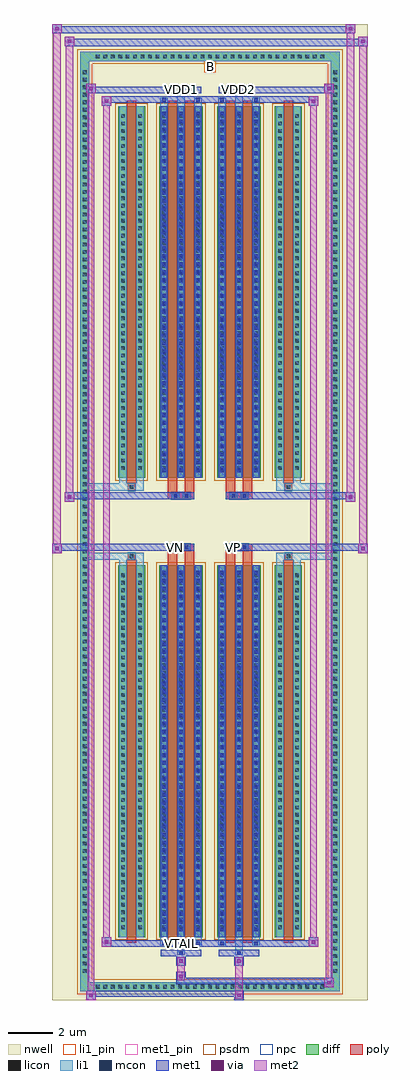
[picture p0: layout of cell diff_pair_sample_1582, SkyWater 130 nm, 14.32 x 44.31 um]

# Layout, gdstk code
import gdstk
lib = gdstk.Library(unit=1e-6, precision=5e-09)
def R(c, l, rs):  # rectangles x0, y0, x1, y1
    for r in rs: c.add(gdstk.rectangle(r[:2], r[2:], *l))
def A(c, l, x, y, w, h, nx, ny, dx, dy):  # array of equal rectangles
    R(c, l, [(x+i*dx, y+j*dy, x+i*dx+w, y+j*dy+h) for i in range(nx) for j in range(ny)])
def P(c, l, *ps):  # polygons
    for p in ps: c.add(gdstk.Polygon(p, *l))
nwell = (64, 20)
diff = (65, 20)
poly = (66, 20)
licon = (66, 44)
li1_pin = (67, 16)
li1 = (67, 20)
mcon = (67, 44)
met1_pin = (68, 16)
met1 = (68, 20)
via = (68, 44)
met2 = (69, 20)
psdm = (94, 20)
npc = (95, 20)

diff_pair_sample_1582 = lib.new_cell('diff_pair_sample_1582')
R(diff_pair_sample_1582, nwell, [(-7.16,-21.72,7.16,22.59), (-4.48,-19.91,-0.01,-0.805), (0.01,-19.91,4.48,-0.805), (-4.48,0.805,-0.01,19.91), (0.01,0.805,4.48,19.91)])
A(diff_pair_sample_1582, diff, -5.305, -21.32, 0.41, 0.41, 31, 2, 0.34, 42.23)
A(diff_pair_sample_1582, diff, -5.89, -20.605, 0.41, 0.41, 1, 121, 0, 0.34)
A(diff_pair_sample_1582, diff, 5.48, -20.605, 0.41, 0.41, 1, 121, 0, 0.34)
R(diff_pair_sample_1582, diff, [(-5.305,-21.32,5.305,-20.91), (-5.89,-20.605,-5.48,20.605), (5.48,-20.605,5.89,20.605), (-4.17,-18.865,-2.95,-1.985), (-2.31,-18.865,-0.32,-1.985), (0.32,-18.865,2.31,-1.985), (2.95,-18.865,4.17,-1.985), (-4.17,1.985,-2.95,18.865), (-2.31,1.985,-0.32,18.865), (0.32,1.985,2.31,18.865), (2.95,1.985,4.17,18.865), (-5.305,20.91,5.305,21.32)])
P(diff_pair_sample_1582, diff, [(5.89,21.32),(-5.89,21.32),(-5.89,-20.91),(-5.48,-20.91),(-5.48,20.91),(5.48,20.91),(5.48,-20.91),(-5.48,-20.91),(-5.89,-20.91),(-5.89,-21.32),(5.89,-21.32)])
R(diff_pair_sample_1582, poly, [(-3.78,-19.115,-3.34,-1.735), (-1.92,-19.115,-1.48,-1.735), (-1.15,-19.115,-0.71,-1.735), (0.71,-19.115,1.15,-1.735), (1.48,-19.115,1.92,-1.735), (3.34,-19.115,3.78,-1.735), (-3.725,-1.735,-3.395,-1.405), (-3.725,-1.735,-3.395,-1.405), (-1.92,-1.735,-1.48,-1.335), (-1.15,-1.735,-0.71,-1.335), (0.71,-1.735,1.15,-1.335), (1.48,-1.735,1.92,-1.335), (3.395,-1.735,3.725,-1.405), (3.395,-1.735,3.725,-1.405), (-1.92,-1.335,-0.71,-1.005), (-1.73,-1.335,-1.4,-1.005), (-1.23,-1.335,-0.9,-1.005), (0.71,-1.335,1.92,-1.005), (0.9,-1.335,1.23,-1.005), (1.4,-1.335,1.73,-1.005), (-1.92,1.005,-0.71,1.335), (-1.73,1.005,-1.4,1.335), (-1.23,1.005,-0.9,1.335), (0.71,1.005,1.92,1.335), (0.9,1.005,1.23,1.335), (1.4,1.005,1.73,1.335), (-1.92,1.335,-1.48,1.735), (-1.15,1.335,-0.71,1.735), (0.71,1.335,1.15,1.735), (1.48,1.335,1.92,1.735), (-3.725,1.405,-3.395,1.735), (-3.725,1.405,-3.395,1.735), (3.395,1.405,3.725,1.735), (3.395,1.405,3.725,1.735), (-3.78,1.735,-3.34,19.115), (-1.92,1.735,-1.48,19.115), (-1.15,1.735,-0.71,19.115), (0.71,1.735,1.15,19.115), (1.48,1.735,1.92,19.115), (3.34,1.735,3.78,19.115)])
A(diff_pair_sample_1582, licon, -5.185, -21.2, 0.17, 0.17, 31, 2, 0.34, 42.23)
A(diff_pair_sample_1582, licon, -5.77, -20.485, 0.17, 0.17, 1, 121, 0, 0.34)
A(diff_pair_sample_1582, licon, 5.6, -20.485, 0.17, 0.17, 1, 121, 0, 0.34)
A(diff_pair_sample_1582, licon, -4.03, -18.5, 0.17, 0.17, 1, 48, 0, 0.34)
A(diff_pair_sample_1582, licon, -3.26, -18.5, 0.17, 0.17, 1, 48, 0, 0.34)
A(diff_pair_sample_1582, licon, -2.17, -18.5, 0.17, 0.17, 3, 48, 0.77, 0.34)
A(diff_pair_sample_1582, licon, 0.46, -18.5, 0.17, 0.17, 3, 48, 0.77, 0.34)
A(diff_pair_sample_1582, licon, 3.09, -18.5, 0.17, 0.17, 1, 48, 0, 0.34)
A(diff_pair_sample_1582, licon, 3.86, -18.5, 0.17, 0.17, 1, 48, 0, 0.34)
A(diff_pair_sample_1582, licon, -4.03, 2.35, 0.17, 0.17, 1, 48, 0, 0.34)
A(diff_pair_sample_1582, licon, -3.26, 2.35, 0.17, 0.17, 1, 48, 0, 0.34)
A(diff_pair_sample_1582, licon, -2.17, 2.35, 0.17, 0.17, 3, 48, 0.77, 0.34)
A(diff_pair_sample_1582, licon, 0.46, 2.35, 0.17, 0.17, 3, 48, 0.77, 0.34)
A(diff_pair_sample_1582, licon, 3.09, 2.35, 0.17, 0.17, 1, 48, 0, 0.34)
A(diff_pair_sample_1582, licon, 3.86, 2.35, 0.17, 0.17, 1, 48, 0, 0.34)
R(diff_pair_sample_1582, licon, [(-3.645,-1.655,-3.475,-1.485), (3.475,-1.655,3.645,-1.485), (-1.65,-1.255,-1.48,-1.085), (-1.15,-1.255,-0.98,-1.085), (0.98,-1.255,1.15,-1.085), (1.48,-1.255,1.65,-1.085), (-1.65,1.085,-1.48,1.255), (-1.15,1.085,-0.98,1.255), (0.98,1.085,1.15,1.255), (1.48,1.085,1.65,1.255), (-3.645,1.485,-3.475,1.655), (3.475,1.485,3.645,1.655)])
R(diff_pair_sample_1582, li1_pin, [(-0.25,20.41,0.25,20.91)])
A(diff_pair_sample_1582, li1, -5.265, -21.28, 0.33, 0.33, 31, 2, 0.34, 42.23)
A(diff_pair_sample_1582, li1, -5.85, -20.565, 0.33, 0.33, 1, 121, 0, 0.34)
A(diff_pair_sample_1582, li1, 5.52, -20.565, 0.33, 0.33, 1, 121, 0, 0.34)
A(diff_pair_sample_1582, li1, -2.25, -18.865, 0.33, 16.88, 3, 2, 0.77, 20.85)
A(diff_pair_sample_1582, li1, 0.38, -18.865, 0.33, 16.88, 3, 2, 0.77, 20.85)
A(diff_pair_sample_1582, li1, -2.17, -18.61, 0.17, 0.17, 3, 46, 0.77, 0.36)
A(diff_pair_sample_1582, li1, -2.17, -18.61, 0.17, 16.37, 3, 2, 0.77, 20.85)
A(diff_pair_sample_1582, li1, 0.46, -18.61, 0.17, 0.17, 3, 46, 0.77, 0.36)
A(diff_pair_sample_1582, li1, 0.46, -18.61, 0.17, 16.37, 3, 2, 0.77, 20.85)
A(diff_pair_sample_1582, li1, -4.11, -18.58, 0.33, 0.33, 1, 48, 0, 0.34)
A(diff_pair_sample_1582, li1, -3.34, -18.58, 0.33, 0.33, 1, 48, 0, 0.34)
A(diff_pair_sample_1582, li1, -2.25, -18.58, 0.33, 0.33, 3, 48, 0.77, 0.34)
A(diff_pair_sample_1582, li1, 0.38, -18.58, 0.33, 0.33, 3, 48, 0.77, 0.34)
A(diff_pair_sample_1582, li1, 3.01, -18.58, 0.33, 0.33, 1, 48, 0, 0.34)
A(diff_pair_sample_1582, li1, 3.78, -18.58, 0.33, 0.33, 1, 48, 0, 0.34)
A(diff_pair_sample_1582, li1, -2.17, 2.24, 0.17, 0.17, 3, 46, 0.77, 0.36)
A(diff_pair_sample_1582, li1, 0.46, 2.24, 0.17, 0.17, 3, 46, 0.77, 0.36)
A(diff_pair_sample_1582, li1, -4.11, 2.27, 0.33, 0.33, 1, 48, 0, 0.34)
A(diff_pair_sample_1582, li1, -3.34, 2.27, 0.33, 0.33, 1, 48, 0, 0.34)
A(diff_pair_sample_1582, li1, -2.25, 2.27, 0.33, 0.33, 3, 48, 0.77, 0.34)
A(diff_pair_sample_1582, li1, 0.38, 2.27, 0.33, 0.33, 3, 48, 0.77, 0.34)
A(diff_pair_sample_1582, li1, 3.01, 2.27, 0.33, 0.33, 1, 48, 0, 0.34)
A(diff_pair_sample_1582, li1, 3.78, 2.27, 0.33, 0.33, 1, 48, 0, 0.34)
R(diff_pair_sample_1582, li1, [(-5.89,-21.32,-5.48,-20.91), (-5.89,-21.32,-5.48,-20.91), (-5.48,-21.32,5.48,-20.91), (5.48,-21.32,5.89,-20.91), (5.48,-21.32,5.89,-20.91), (-5.89,-20.91,-5.48,20.91), (5.48,-20.91,5.89,20.91), (-1.48,-19.67,-1.15,-18.865), (-1.4,-19.67,-1.23,-19.5), (1.15,-19.67,1.48,-18.865), (1.23,-19.67,1.4,-19.5), (-2.25,-19.24,-1.92,-18.865), (-2.17,-19.24,-2,-19.07), (-0.71,-19.24,-0.38,-18.865), (-0.63,-19.24,-0.46,-19.07), (0.38,-19.24,0.71,-18.865), (0.46,-19.24,0.63,-19.07), (1.92,-19.24,2.25,-18.865), (2,-19.24,2.17,-19.07), (-4.11,-18.865,-3.78,-1.985), (-3.34,-18.865,-3.01,-1.985), (3.01,-18.865,3.34,-1.985), (3.78,-18.865,4.11,-1.985), (-4.11,-1.985,-3.78,-1.405), (-3.34,-1.985,-3.01,-1.405), (3.01,-1.985,3.34,-1.405), (3.78,-1.985,4.11,-1.405), (-5.89,-1.735,-3.725,-1.405), (-4.11,-1.735,-3.725,-1.405), (-3.725,-1.735,-3.395,-1.405), (-3.395,-1.735,-3.01,-1.405), (3.01,-1.735,3.395,-1.405), (3.395,-1.735,3.725,-1.405), (3.395,-1.735,5.89,-1.405), (3.725,-1.735,4.11,-1.405), (-1.73,-1.335,-1.4,-1.005), (-1.23,-1.335,-0.9,-1.005), (0.9,-1.335,1.23,-1.005), (1.4,-1.335,1.73,-1.005), (-1.73,1.005,-1.4,1.335), (-1.23,1.005,-0.9,1.335), (0.9,1.005,1.23,1.335), (1.4,1.005,1.73,1.335), (-5.89,1.405,-3.725,1.735), (-4.11,1.405,-3.725,1.735), (-4.11,1.405,-3.78,1.985), (-3.725,1.405,-3.395,1.735), (-3.395,1.405,-3.01,1.735), (-3.34,1.405,-3.01,1.985), (3.01,1.405,3.395,1.735), (3.01,1.405,3.34,1.985), (3.395,1.405,3.725,1.735), (3.395,1.405,5.89,1.735), (3.725,1.405,4.11,1.735), (3.78,1.405,4.11,1.985), (-4.11,1.985,-3.78,18.865), (-3.34,1.985,-3.01,18.865), (3.01,1.985,3.34,18.865), (3.78,1.985,4.11,18.865), (-2.25,18.865,-1.92,19.24), (-1.48,18.865,-1.15,19.67), (-0.71,18.865,-0.38,19.24), (0.38,18.865,0.71,19.24), (1.15,18.865,1.48,19.67), (1.92,18.865,2.25,19.24), (-2.17,19.07,-2,19.24), (-0.63,19.07,-0.46,19.24), (0.46,19.07,0.63,19.24), (2,19.07,2.17,19.24), (-1.4,19.5,-1.23,19.67), (1.23,19.5,1.4,19.67), (-5.89,20.91,-5.48,21.32), (-5.89,20.91,-5.48,21.32), (-5.48,20.91,5.48,21.32), (5.48,20.91,5.89,21.32), (5.48,20.91,5.89,21.32)])
A(diff_pair_sample_1582, mcon, -2.17, -18.61, 0.17, 0.17, 3, 46, 0.77, 0.36)
A(diff_pair_sample_1582, mcon, 0.46, -18.61, 0.17, 0.17, 3, 46, 0.77, 0.36)
A(diff_pair_sample_1582, mcon, -2.17, 2.24, 0.17, 0.17, 3, 46, 0.77, 0.36)
A(diff_pair_sample_1582, mcon, 0.46, 2.24, 0.17, 0.17, 3, 46, 0.77, 0.36)
R(diff_pair_sample_1582, mcon, [(-1.4,-19.67,-1.23,-19.5), (1.23,-19.67,1.4,-19.5), (-2.17,-19.24,-2,-19.07), (-0.63,-19.24,-0.46,-19.07), (0.46,-19.24,0.63,-19.07), (2,-19.24,2.17,-19.07), (-1.65,-1.255,-1.48,-1.085), (-1.15,-1.255,-0.98,-1.085), (0.98,-1.255,1.15,-1.085), (1.48,-1.255,1.65,-1.085), (-1.65,1.085,-1.48,1.255), (-1.15,1.085,-0.98,1.255), (0.98,1.085,1.15,1.255), (1.48,1.085,1.65,1.255), (-2.17,19.07,-2,19.24), (-0.63,19.07,-0.46,19.24), (0.46,19.07,0.63,19.24), (2,19.07,2.17,19.24), (-1.4,19.5,-1.23,19.67), (1.23,19.5,1.4,19.67)])
R(diff_pair_sample_1582, met1_pin, [(-1.45,-19.28,-1.18,-19.01), (-1.7,-1.295,-1.43,-1.025), (0.93,-1.295,1.2,-1.025), (-1.45,19.46,-1.18,19.73), (1.18,19.46,1.45,19.73)])
A(diff_pair_sample_1582, met1, -2.23, -18.865, 0.29, 16.88, 3, 2, 0.77, 20.85)
A(diff_pair_sample_1582, met1, 0.4, -18.865, 0.29, 16.88, 3, 2, 0.77, 20.85)
A(diff_pair_sample_1582, met1, -2.23, -18.67, 0.29, 0.29, 3, 46, 0.77, 0.36)
A(diff_pair_sample_1582, met1, 0.4, -18.67, 0.29, 0.29, 3, 46, 0.77, 0.36)
A(diff_pair_sample_1582, met1, -2.23, 2.18, 0.29, 0.29, 3, 46, 0.77, 0.36)
A(diff_pair_sample_1582, met1, 0.4, 2.18, 0.29, 0.29, 3, 46, 0.77, 0.36)
R(diff_pair_sample_1582, met1, [(-5.62,-21.72,-5.19,-21.29), (1.1,-21.72,1.53,-21.29), (-5.62,-21.58,1.53,-21.29), (5.19,-21.15,5.62,-20.72), (-1.53,-21.01,5.62,-20.72), (-1.53,-20.87,-1.1,-20.44), (-1.53,-20.16,-1.1,-19.73), (1.1,-20.16,1.53,-19.73), (-2.23,-19.73,-0.4,-19.44), (-1.46,-19.73,-1.17,-19.44), (0.4,-19.73,2.23,-19.44), (1.17,-19.73,1.46,-19.44), (-4.91,-19.3,-4.48,-18.87), (-4.91,-19.3,-2.23,-19.01), (-2.23,-19.3,-1.94,-19.01), (-2.23,-19.3,-0.4,-19.01), (-0.69,-19.3,-0.4,-19.01), (-0.4,-19.3,0.4,-19.01), (0.4,-19.3,0.69,-19.01), (0.4,-19.3,2.23,-19.01), (1.94,-19.3,2.23,-19.01), (2.23,-19.3,4.91,-19.01), (4.48,-19.3,4.91,-18.87), (-7.16,-1.435,-6.73,-1.005), (6.73,-1.435,7.16,-1.005), (-7.16,-1.335,-0.71,-1.005), (-1.92,-1.335,-0.71,-1.005), (0.71,-1.335,1.92,-1.005), (0.71,-1.335,7.16,-1.005), (-1.71,-1.315,-1.42,-1.025), (-1.21,-1.315,-0.92,-1.025), (0.92,-1.315,1.21,-1.025), (1.42,-1.315,1.71,-1.025), (-6.59,0.905,-6.16,1.335), (6.16,0.905,6.59,1.335), (-6.59,1.005,-1.92,1.335), (-1.92,1.005,-0.71,1.335), (0.71,1.005,1.92,1.335), (1.92,1.005,6.59,1.335), (-1.71,1.025,-1.42,1.315), (-1.21,1.025,-0.92,1.315), (0.92,1.025,1.21,1.315), (1.42,1.025,1.71,1.315), (-4.91,18.87,-4.48,19.3), (4.48,18.87,4.91,19.3), (-4.91,19.01,-2.23,19.3), (-2.23,19.01,-1.94,19.3), (-2.23,19.01,-0.4,19.3), (-0.69,19.01,-0.4,19.3), (-0.4,19.01,0.4,19.3), (0.4,19.01,0.69,19.3), (0.4,19.01,2.23,19.3), (1.94,19.01,2.23,19.3), (2.23,19.01,4.91,19.3), (-5.62,19.44,-5.19,19.87), (-5.62,19.44,-2.23,19.73), (-2.23,19.44,-0.4,19.73), (-1.46,19.44,-1.17,19.73), (0.4,19.44,2.23,19.73), (1.17,19.44,1.46,19.73), (2.23,19.44,5.62,19.73), (5.19,19.44,5.62,19.87), (-6.59,21.59,-6.16,22.02), (-6.59,21.59,-4.48,21.92), (-4.48,21.59,4.48,21.92), (4.48,21.59,7.16,21.92), (6.73,21.59,7.16,22.02), (-7.16,22.16,-6.73,22.59), (-7.16,22.16,-4.48,22.49), (-4.48,22.16,4.48,22.49), (4.48,22.16,6.59,22.49), (6.16,22.16,6.59,22.59)])
R(diff_pair_sample_1582, via, [(-5.48,-21.58,-5.33,-21.43), (1.24,-21.58,1.39,-21.43), (5.33,-21.01,5.48,-20.86), (-1.39,-20.73,-1.24,-20.58), (-1.39,-20.02,-1.24,-19.87), (1.24,-20.02,1.39,-19.87), (-4.77,-19.16,-4.62,-19.01), (4.62,-19.16,4.77,-19.01), (-7.02,-1.295,-6.87,-1.145), (6.87,-1.295,7.02,-1.145), (-6.45,1.045,-6.3,1.195), (6.3,1.045,6.45,1.195), (-4.77,19.01,-4.62,19.16), (4.62,19.01,4.77,19.16), (-5.48,19.58,-5.33,19.73), (5.33,19.58,5.48,19.73), (-6.45,21.73,-6.3,21.88), (6.87,21.73,7.02,21.88), (-7.02,22.3,-6.87,22.45), (6.3,22.3,6.45,22.45)])
R(diff_pair_sample_1582, met2, [(-5.62,-21.72,-5.19,-21.29), (-5.55,-21.72,-5.26,19.87), (-5.26,-21.72,-5.19,-21.29), (-5.57,-21.67,-5.24,-21.34), (1.15,-21.67,1.48,-21.34), (1.15,-21.34,1.48,-20.11), (5.19,-21.15,5.62,-20.72), (5.26,-21.15,5.55,19.87), (5.55,-21.15,5.62,-20.72), (5.24,-21.1,5.57,-20.77), (-1.48,-20.82,-1.15,-20.49), (-1.48,-20.49,-1.15,-20.11), (-1.48,-20.11,-1.15,-19.78), (1.15,-20.11,1.48,-19.78), (-4.91,-19.3,-4.48,-18.87), (-4.84,-19.3,-4.55,19.3), (-4.55,-19.3,-4.48,-18.87), (4.48,-19.3,4.91,-18.87), (4.55,-19.3,4.84,19.3), (4.84,-19.3,4.91,-18.87), (-4.86,-19.25,-4.53,-18.92), (4.53,-19.25,4.86,-18.92), (-7.16,-1.435,-6.73,-1.005), (-7.11,-1.435,-6.78,22.59), (-6.78,-1.435,-6.73,-1.005), (6.73,-1.435,7.16,-1.005), (6.78,-1.435,7.11,22.02), (7.11,-1.435,7.16,-1.005), (-7.11,-1.385,-6.78,-1.055), (6.78,-1.385,7.11,-1.055), (-6.59,0.905,-6.16,1.335), (-6.54,0.905,-6.21,22.02), (-6.21,0.905,-6.16,1.335), (6.16,0.905,6.59,1.335), (6.21,0.905,6.54,22.59), (6.54,0.905,6.59,1.335), (-6.54,0.955,-6.21,1.285), (6.21,0.955,6.54,1.285), (-4.91,18.87,-4.48,19.3), (-4.55,18.87,-4.48,19.3), (4.48,18.87,4.91,19.3), (4.84,18.87,4.91,19.3), (-4.86,18.92,-4.53,19.25), (4.53,18.92,4.86,19.25), (-5.62,19.44,-5.19,19.87), (-5.26,19.44,-5.19,19.87), (5.19,19.44,5.62,19.87), (5.55,19.44,5.62,19.87), (-5.57,19.49,-5.24,19.82), (5.24,19.49,5.57,19.82), (-6.59,21.59,-6.16,22.02), (-6.21,21.59,-6.16,22.02), (6.73,21.59,7.16,22.02), (7.11,21.59,7.16,22.02), (-6.54,21.64,-6.21,21.97), (6.78,21.64,7.11,21.97), (-7.16,22.16,-6.73,22.59), (-6.78,22.16,-6.73,22.59), (6.16,22.16,6.59,22.59), (6.54,22.16,6.59,22.59), (-7.11,22.21,-6.78,22.54), (6.21,22.21,6.54,22.54)])
R(diff_pair_sample_1582, psdm, [(-4.3,-18.995,-2.82,-1.855), (-2.44,-18.995,-0.19,-1.855), (0.19,-18.995,2.44,-1.855), (2.82,-18.995,4.3,-1.855), (-4.3,1.855,-2.82,18.995), (-2.44,1.855,-0.19,18.995), (0.19,1.855,2.44,18.995), (2.82,1.855,4.3,18.995)])
P(diff_pair_sample_1582, psdm, [(6.02,21.45),(-6.02,21.45),(-6.02,-20.78),(-5.35,-20.78),(-5.35,20.78),(5.35,20.78),(5.35,-20.78),(-5.35,-20.78),(-6.02,-20.78),(-6.02,-21.45),(6.02,-21.45)])
R(diff_pair_sample_1582, npc, [(-3.745,-1.755,-3.375,-1.385), (3.375,-1.755,3.745,-1.385), (-1.75,-1.355,-1.38,-0.985), (-1.75,-1.355,-0.88,-0.985), (-1.75,-1.355,-0.88,-0.985), (-1.25,-1.355,-0.88,-0.985), (0.88,-1.355,1.25,-0.985), (0.88,-1.355,1.75,-0.985), (0.88,-1.355,1.75,-0.985), (1.38,-1.355,1.75,-0.985), (-1.75,0.985,-1.38,1.355), (-1.75,0.985,-0.88,1.355), (-1.75,0.985,-0.88,1.355), (-1.25,0.985,-0.88,1.355), (0.88,0.985,1.25,1.355), (0.88,0.985,1.75,1.355), (0.88,0.985,1.75,1.355), (1.38,0.985,1.75,1.355), (-3.745,1.385,-3.375,1.755), (3.375,1.385,3.745,1.755)])
diff_pair_sample_1582.add(gdstk.Label('VTAIL', (-1.315,-19.145), layer=68, texttype=5))
diff_pair_sample_1582.add(gdstk.Label('VN', (-1.565,-1.16), layer=68, texttype=5))
diff_pair_sample_1582.add(gdstk.Label('VP', (1.065,-1.16), layer=68, texttype=5))
diff_pair_sample_1582.add(gdstk.Label('B', (0,20.66), layer=67, texttype=5))
diff_pair_sample_1582.add(gdstk.Label('VDD2', (1.315,19.595), layer=68, texttype=5))
diff_pair_sample_1582.add(gdstk.Label('VDD1', (-1.315,19.595), layer=68, texttype=5))

lib.write_gds('diff_pair_sample_1582.gds')
